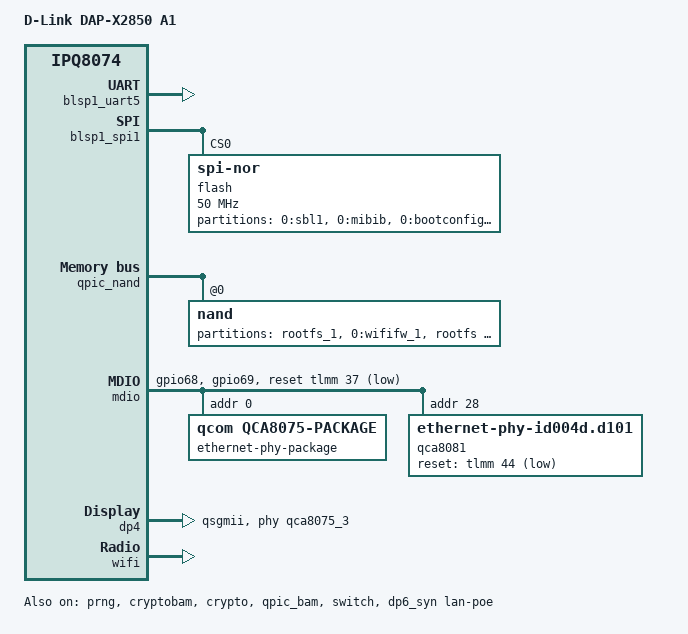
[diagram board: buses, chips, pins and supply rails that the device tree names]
// SPDX-License-Identifier: GPL-2.0-or-later OR MIT

/dts-v1/;

#include "ipq8074.dtsi"
#include "ipq8074-hk-cpu.dtsi"
#include "ipq8074-ess.dtsi"
#include <dt-bindings/gpio/gpio.h>
#include <dt-bindings/input/input.h>
#include <dt-bindings/leds/common.h>

/ {
	model = "D-Link DAP-X2850 A1";
	compatible = "dlink,dap-x2850-a1", "qcom,ipq8074";
/*
	aliases {
		led-boot = &led_system_red;
		led-failsafe = &led_system_red;
		led-running = &led_system_blue;
		led-upgrade = &led_system_red;
		serial0 = &blsp1_uart5;
	};
*/
	chosen {
		stdout-path = "serial0:115200n8";
/*
		bootargs-append = " root=/dev/ubiblock0_1";
*/
	};

	keys {
		compatible = "gpio-keys";
/*
		reset {
			label = "reset";
			gpios = <&tlmm 34 GPIO_ACTIVE_LOW>;
			linux,code = <KEY_RESTART>;
		};
*/
	};

	leds {
		compatible = "gpio-leds";
/*
		led_system_blue: system-blue {
			gpios = <&tlmm 26 GPIO_ACTIVE_HIGH>;
			color = <LED_COLOR_ID_BLUE>;
		};

		led_system_red: system-red {
			gpios = <&tlmm 25 GPIO_ACTIVE_HIGH>;
			color = <LED_COLOR_ID_RED>;
		};
*/
	};
};

&tlmm {
	mdio_pins: mdio-pins {
		mdc {
			pins = "gpio68";
			function = "mdc";
			drive-strength = <8>;
			bias-pull-up;
		};

		mdio {
			pins = "gpio69";
			function = "mdio";
			drive-strength = <8>;
			bias-pull-up;
		};
	};
};

&blsp1_uart5 {
	status = "okay";
};

&prng {
	status = "okay";
};

&cryptobam {
	status = "okay";
};

&crypto {
	status = "okay";
};

&qpic_bam {
	status = "okay";
};

&blsp1_spi1 {
	status = "okay";

	flash@0 {
		#address-cells = <1>;
		#size-cells = <1>;
		reg = <0x00>;

		compatible = "jedec,spi-nor";
		spi-max-frequency = <50000000>;

		partitions {
			compatible = "fixed-partitions";
			#address-cells = <1>;
			#size-cells = <1>;

			partition@0 {
				label = "0:sbl1";
				reg = <0x0 0x50000>;
				read-only;
			};

			partition@50000 {
				label = "0:mibib";
				reg = <0x50000 0x10000>;
				read-only;
			};

			partition@60000 {
				label = "0:bootconfig";
				reg = <0x60000 0x20000>;
				read-only;
			};

			partition@80000 {
				label = "0:bootconfig1";
				reg = <0x80000 0x20000>;
				read-only;
			};

			partition@a0000 {
				label = "0:qsee";
				reg = <0xa0000 0x180000>;
				read-only;
			};

			partition@220000 {
				label = "0:qsee_1";
				reg = <0x220000 0x180000>;
				read-only;
			};

			partition@3a0000 {
				label = "0:devcfg";
				reg = <0x3a0000 0x10000>;
				read-only;
			};

			partition@3b0000 {
				label = "0:devcfg_1";
				reg = <0x3b0000 0x10000>;
				read-only;
			};

			partition@3c0000 {
				label = "0:apdp";
				reg = <0x3c0000 0x10000>;
				read-only;
			};

			partition@3d0000 {
				label = "0:apdp_1";
				reg = <0x3d0000 0x10000>;
				read-only;
			};

			partition@3e0000 {
				label = "0:rpm";
				reg = <0x3e0000 0x40000>;
				read-only;
			};

			partition@420000 {
				label = "0:rpm_1";
				reg = <0x420000 0x40000>;
				read-only;
			};

			partition@460000 {
				label = "0:cdt";
				reg = <0x460000 0x10000>;
				read-only;
			};

			partition@470000 {
				label = "0:cdt_1";
				reg = <0x470000 0x10000>;
				read-only;
			};

			partition@480000 {
				label = "0:appsblenv";
				reg = <0x480000 0x10000>;
				read-only;
			};

			partition@490000 {
				label = "0:appsbl";
				reg = <0x490000 0xa0000>;
				read-only;
			};

			partition@530000 {
				label = "0:appsbl_1";
				reg = <0x530000 0xa0000>;
				read-only;
			};

			partition@5d0000 {
				label = "0:art";
				reg = <0x5d0000 0x40000>;
				read-only;
			};

			partition@610000 {
				label = "0:ethphyfw";
				reg = <0x610000 0x80000>;
				read-only;
			};
		};
	};
};

&qpic_nand {
	status = "okay";

	nand@0 {
		reg = <0>;
		nand-ecc-strength = <4>;
		nand-ecc-step-size = <512>;
		nand-bus-width = <8>;

		partitions {
			compatible = "fixed-partitions";
			#address-cells = <1>;
			#size-cells = <1>;

			partition@0 {
				label = "rootfs_1";
				reg = <0x0 0x2d00000>;
				compatible = "linux,ubi";
			};

			partition@2d00000 {
				label = "0:wififw_1";
				reg = <0x2d00000 0x800000>;
				compatible = "linux,ubi";
				read-only;
			};

			partition@3500000 {
				label = "rootfs";
				reg = <0x3500000 0x2d00000>;
				read-only;
			};

			partition@6200000 {
				label = "0:wififw";
				reg = <0x6200000 0x800000>;
				read-only;
			};

			partition@6a00000 {
				label = "bdcfg";
				reg = <0x6a00000 0x80000>;
				read-only;
			};

			partition@6a80000 {
				label = "rgdb";
				reg = <0x6a80000 0x200000>;
				read-only;
			};

			partition@6c80000 {
				label = "langpack";
				reg = <0x6c80000 0x200000>;
				read-only;
			};

			partition@6e80000 {
				label = "certificate";
				reg = <0x6e80000 0x100000>;
				read-only;
			};

			partition@6f80000 {
				label = "captival";
				reg = <0x6f80000 0x100000>;
				read-only;
			};
		};
	};
};

&mdio {
	status = "okay";

	pinctrl-0 = <&mdio_pins>;
	pinctrl-names = "default";
	reset-gpios = <&tlmm 37 GPIO_ACTIVE_LOW>;

	ethernet-phy-package@0 {
		#address-cells = <1>;
		#size-cells = <0>;
		compatible = "qcom,qca8075-package";
		reg = <0>;

		qcom,package-mode = "qsgmii";

		qca8075_0: ethernet-phy@0 {
			compatible = "ethernet-phy-ieee802.3-c22";
			reg = <0>;
		};

		qca8075_1: ethernet-phy@1 {
			compatible = "ethernet-phy-ieee802.3-c22";
			reg = <1>;
		};

		qca8075_2: ethernet-phy@2 {
			compatible = "ethernet-phy-ieee802.3-c22";
			reg = <2>;
		};

		qca8075_3: ethernet-phy@3 {
			compatible = "ethernet-phy-ieee802.3-c22";
			reg = <3>;
		};
	};

	qca8081: ethernet-phy@28 {
		compatible = "ethernet-phy-id004d.d101";
		reg = <28>;
		reset-deassert-us = <10000>;
		reset-gpios = <&tlmm 44 GPIO_ACTIVE_LOW>;
/*
		leds {
			#address-cells = <1>;
			#size-cells = <0>;

			led@0 {
				reg = <0>;
				color = <LED_COLOR_ID_YELLOW>;
				function = LED_FUNCTION_WAN;
				default-state = "keep";
				active-low;
			};

			led@2 {
				reg = <2>;
				color = <LED_COLOR_ID_GREEN>;
				function = LED_FUNCTION_WAN;
				default-state = "keep";
			};
		};
*/
	};
};

&switch {
	status = "okay";

	switch_lan_bmp = <(ESS_PORT1 | ESS_PORT2 | ESS_PORT3 | ESS_PORT4)>; /* lan port bitmap */
	switch_wan_bmp = <ESS_PORT6>; /* wan port bitmap */
	switch_mac_mode = <MAC_MODE_QSGMII>; /* mac mode for uniphy instance0*/
	switch_mac_mode2 = <MAC_MODE_SGMII_PLUS>; /* mac mode for uniphy instance2*/

	qcom,port_phyinfo {
		port@1 {
			port_id = <1>;
			phy_address = <0>;
		};
		port@2 {
			port_id = <2>;
			phy_address = <1>;
		};
		port@3 {
			port_id = <3>;
			phy_address = <2>;
		};
		port@4 {
			port_id = <4>;
			phy_address = <3>;
		};
		port@6 {
			port_id = <6>;
			phy_address = <28>;
			port_mac_sel = "QGMAC_PORT";
		};
	};
};

&edma {
	status = "okay";
};

&dp4 {
	status = "okay";
	phy-mode = "qsgmii";
	phy-handle = <&qca8075_3>;
	label = "lan";
/*
	nvmem-cells = <&macaddr_art_6>;
	nvmem-cell-names = "mac-address";
*/
};

&dp6_syn {
	status = "okay";
	phy-handle = <&qca8081>;
	label = "lan-poe";
/*
	nvmem-cells = <&macaddr_art_0>;
	nvmem-cell-names = "mac-address";
*/
};

&wifi {
	status = "okay";
	qcom,ath11k-calibration-variant = "dlink_dap-x2850-a1";
};
